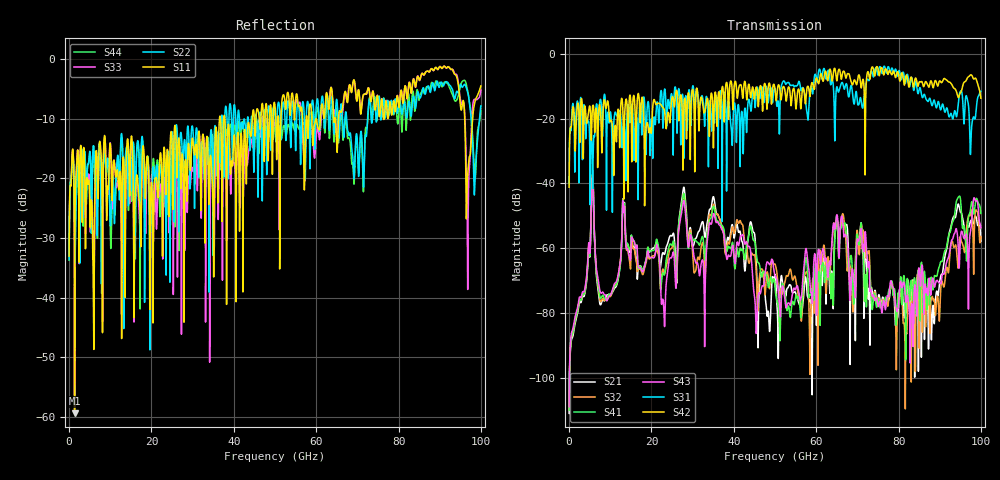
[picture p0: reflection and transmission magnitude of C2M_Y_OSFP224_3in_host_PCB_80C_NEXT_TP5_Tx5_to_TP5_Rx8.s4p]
# GHz S RI R 45
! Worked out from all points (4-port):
!   4000 points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, 25 MHz to 100 GHz, reference 45 ohm
!   strongest paths, dB at 25 MHz, 25.02 GHz, 50.02 GHz, 75.03 GHz, 100 GHz:
!     S42: -41.2, -13.5, -11.1, -4.7, -13.7
!     S31: -40.1, -13.3, -10.9, -6.3, -11.5
!     S43: -109.0, -62.6, -68.7, -77.8, -53.7
!     S41: -110.1, -59.1, -72.1, -75.9, -49.3
!     S32: -110.0, -59.8, -64.9, -75.9, -56.4
!     S21: -111.0, -56.2, -68.1, -75.8, -57.9
!   lowest |S11| = -59.4 dB at 1.35 GHz (marker M1), VSWR 1.00, Z = 44.9 - j0.0541 ohm
!   |S11| at or under -10 dB: start of sweep to 36.53 GHz; 37.83 GHz to 44.49 GHz (6.656 GHz wide, 16.2 % of centre); 96.08 GHz to 98 GHz (1.925 GHz wide, 1.98 % of centre) (the widest 3 of 19)
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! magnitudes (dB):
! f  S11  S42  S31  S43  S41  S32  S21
! 25 MHz  -33.0  -41.2  -40.1  -109.0  -110.1  -110.0  -111.0
! 1.35 GHz  -59.4  -22.6  -29.9  -82.0  -83.1  -83.1  -84.1
! 5.725 GHz  -30.7  -16.1  -41.7  -37.3  -37.3  -37.2  -37.3
! 7.75 GHz  -15.6  -20.5  -14.4  -73.9  -75.5  -76.5  -77.4
! 27.77 GHz  -21.0  -21.9  -16.4  -45.5  -43.4  -43.7  -41.5
! 53.42 GHz  -6.9  -10.3  -9.0  -77.0  -78.6  -67.6  -71.4
! 100 GHz  -4.5  -13.7  -11.5  -53.7  -49.3  -56.4  -57.9
